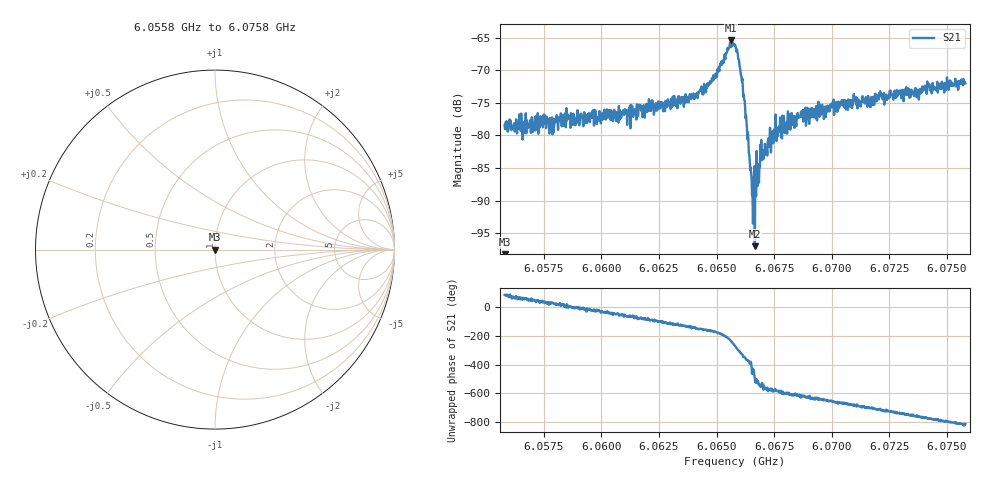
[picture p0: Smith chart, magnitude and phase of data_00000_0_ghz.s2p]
! Created with skrf (http://scikit-rf.org).
# GHz S RI R 50.0
!freq ReS11 ImS11 ReS21 ImS21 ReS12 ImS12 ReS22 ImS22
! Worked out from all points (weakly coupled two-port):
!   1001 points, 6.0558 GHz to 6.0758 GHz, reference 50 ohm
!   highest |S21| = -65.44 dB at 6.06562 GHz (marker M1); lowest = -97.0 dB at 6.06666 GHz (marker M2)
!   lowest |S11| = - dB at 6.0558 GHz (marker M3), VSWR 1.00, Z = 50 + j0 ohm
!   |S11| at or under -10 dB: start of sweep to end of sweep
!   S12 and S22 are empty: the file has one direction only
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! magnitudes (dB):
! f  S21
! 6.0558 GHz  -78.5
! 6.05664 GHz  -78.5
! 6.05758 GHz  -77.1
! 6.05784 GHz  -78.5
! 6.05854 GHz  -76.8
! 6.05914 GHz  -76.8
! 6.06248 GHz  -74.8
! 6.06368 GHz  -74.9
! 6.06448 GHz  -73.1
! 6.06492 GHz  -71.1
! 6.06562 GHz  -65.4
! 6.0658 GHz  -66.1
! 6.06602 GHz  -69.6
! 6.06636 GHz  -79.5
! 6.06666 GHz  -97.0
! 6.06744 GHz  -79.3
! 6.06784 GHz  -80.5
! 6.06914 GHz  -75.8
! 6.06998 GHz  -75.1
! 6.07176 GHz  -75.3
! 6.07248 GHz  -73.8
! 6.0758 GHz  -72.0
